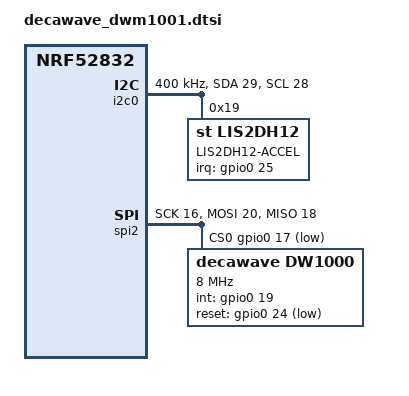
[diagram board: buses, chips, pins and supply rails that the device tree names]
/dts-v1/;
#include <nordic/nrf52832_qfaa.dtsi>

&gpiote {
	status = "okay";
};

&gpio0 {
	status = "okay";
};

&i2c0 {
	compatible = "nordic,nrf-twim";
	status = "okay";
	clock-frequency = <I2C_BITRATE_FAST>;
	sda-pin = <29>;
	scl-pin = <28>;

	lis2dh12: lis2dh12@19 {
		compatible = "st,lis2dh12", "st,lis2dh";
		reg = <0x19>;
		irq-gpios = <&gpio0 25 GPIO_ACTIVE_HIGH>;
		label = "LIS2DH12-ACCEL";
	};
};

&spi2 {
	compatible = "nordic,nrf-spi";
	status = "okay";
	sck-pin  = <16>;
	mosi-pin = <20>;
	miso-pin = <18>;
	cs-gpios = <&gpio0 17 GPIO_ACTIVE_LOW>;

	uwb: dw1000@0 {
		compatible = "decawave,dw1000";
		spi-max-frequency = <8000000>;
		int-gpios = <&gpio0 19 GPIO_ACTIVE_HIGH>;	/* P0.19 */
		reset-gpios = <&gpio0 24 GPIO_ACTIVE_LOW>;	/* P0.24 */
		status = "okay";
		label = "DW1000";
		reg = <0>;
	};
};
